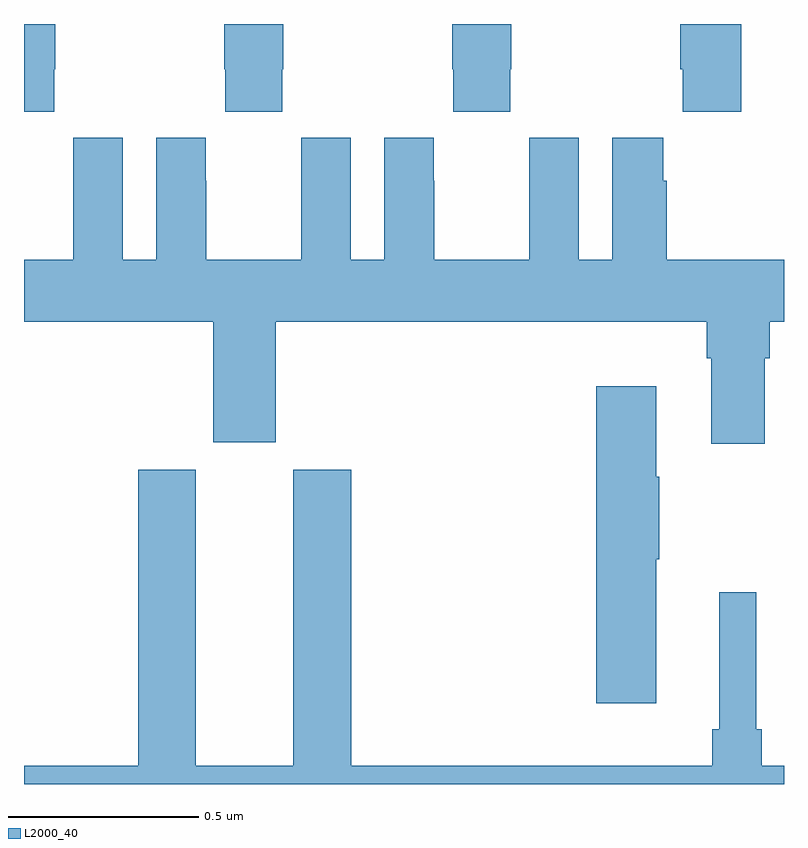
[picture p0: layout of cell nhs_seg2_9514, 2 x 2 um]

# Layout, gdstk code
import gdstk
lib = gdstk.Library(unit=1e-6, precision=1e-09)
def P(c, l, *ps):  # polygons
    for p in ps: c.add(gdstk.Polygon(p, *l))
L2000_40 = (2000, 40)

nhs_seg2_9514 = lib.new_cell('nhs_seg2_9514')
P(nhs_seg2_9514, L2000_40, [(230.079,601.681),(230.082,601.681),(230.082,601.8),(230,601.8),(230,601.569),(230.079,601.569)],
  [(230.679,601.681),(230.682,601.681),(230.682,601.8),(230.527,601.8),(230.527,601.681),(230.529,601.681),(230.529,601.569),(230.679,601.569)],
  [(231.279,601.681),(231.282,601.681),(231.282,601.8),(231.127,601.8),(231.127,601.681),(231.129,601.681),(231.129,601.569),(231.279,601.569)],
  [(231.887,601.8),(231.727,601.8),(231.727,601.681),(231.733,601.681),(231.733,601.569),(231.887,601.569)],
  [(231.949,600.92),(231.962,600.92),(231.962,601.016),(232,601.016),(232,601.18),(231.692,601.18),(231.692,601.388),(231.682,601.388),(231.682,601.501),(231.548,601.501),(231.548,601.18),(231.46,601.18),(231.46,601.501),(231.33,601.501),(231.33,601.388),(231.329,601.388),(231.329,601.18),(231.079,601.18),(231.079,601.388),(231.078,601.388),(231.078,601.501),(230.948,601.501),(230.948,601.18),(230.86,601.18),(230.86,601.501),(230.73,601.501),(230.73,601.388),(230.729,601.388),(230.729,601.18),(230.479,601.18),(230.479,601.388),(230.478,601.388),(230.478,601.501),(230.348,601.501),(230.348,601.18),(230.26,601.18),(230.26,601.501),(230.13,601.501),(230.13,601.388),(230.129,601.388),(230.129,601.18),(230,601.18),(230,601.016),(230.498,601.016),(230.498,600.699),(230.662,600.699),(230.662,601.016),(231.797,601.016),(231.797,600.92),(231.809,600.92),(231.809,600.696),(231.949,600.696)],
  [(231.664,600.391),(231.672,600.391),(231.672,600.608),(231.664,600.608),(231.664,600.847),(231.506,600.847),(231.506,600.012),(231.664,600.012)],
  [(232,599.848),(231.941,599.848),(231.941,599.944),(231.927,599.944),(231.927,600.304),(231.83,600.304),(231.83,599.944),(231.811,599.944),(231.811,599.848),(230.861,599.848),(230.861,600.627),(230.708,600.627),(230.708,599.848),(230.452,599.848),(230.452,600.627),(230.3,600.627),(230.3,599.848),(230,599.848),(230,599.8),(232,599.8)])

lib.write_gds('nhs_seg2_9514.gds')
